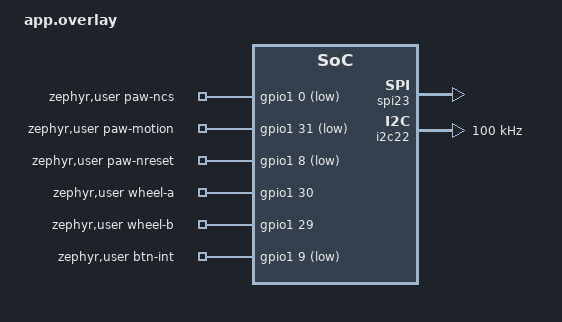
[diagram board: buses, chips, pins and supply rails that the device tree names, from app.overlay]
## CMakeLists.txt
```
# SPDX-License-Identifier: Apache-2.0
cmake_minimum_required(VERSION 3.20.0)

find_package(Zephyr REQUIRED HINTS $ENV{ZEPHYR_BASE})
project(xiao-fw)

if(CONFIG_APP_ESB)
  # 2.4G ESB 变体：esb_ptx.c 实现 ble_hid.h 同一套 API，main.c 不感知差异
  target_sources(app PRIVATE
    src/main.c
    src/paw3395.c
    src/input.c
    src/battery.c
    src/esb_ptx.c
    src/cfg_link.c
  )
  # ESB 负载 dx/dy 已改成 int16：单包位移上限 ±32767，
  # 超出部分由 main.c 的 pend 机制留在下轮发，不丢位移
  zephyr_compile_definitions(HID_MOTION_MAX=32767)
else()
  target_sources(app PRIVATE
    src/main.c
    src/paw3395.c
    src/ble_hid.c
    src/input.c
    src/battery.c
    src/cfg_link.c
  )
endif()
```

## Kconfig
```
mainmenu "XIAO nRF54LM20A gaming mouse"

config APP_ESB
	bool "Use 2.4G ESB link (ProMicro dongle) instead of BLE HID"
	default n

source "Kconfig.zephyr"
```

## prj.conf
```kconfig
# XIAO nRF54LM20A 游戏鼠标固件
#   阶段 1：bring-up + PAW3395 传感器驱动
#   阶段 2：BLE HID 鼠标 + LLPM（低延迟 1ms 连接间隔）

# 基础外设
CONFIG_GPIO=y
CONFIG_POWEROFF=y
CONFIG_SPI=y
CONFIG_I2C=y
CONFIG_SERIAL=y
CONFIG_PRINTK=y
CONFIG_ASSERT=y

# 电量读取：nPM1300 charger 走 sensor API（VBAT -> 百分比）
# charger/mfd/gpio-i2c 驱动由板级 DT 自动拉起，这里只开 sensor 子系统
CONFIG_SENSOR=y

# 日志：用默认的 deferred 模式（有独立日志线程），避免日志输出阻塞无线电时序
CONFIG_LOG=y
CONFIG_LOG_DEFAULT_LEVEL=3

# ---------------- BLE HID 鼠标 ----------------
CONFIG_BT=y
CONFIG_BT_PERIPHERAL=y
CONFIG_BT_DEVICE_NAME="XIAO Mouse"
CONFIG_BT_DEVICE_APPEARANCE=962
CONFIG_BT_MAX_CONN=1
# 配对槽：dongle 和 Windows（开发期直连调试用）都要能存，
# 只留 1 个会在"Windows 配过对"之后把 dongle 的 bond 顶掉，
# 重连时 dongle 走新配对会被鼠标回 Pairing Not Allowed（实测 err=4）。
CONFIG_BT_MAX_PAIRED=4
CONFIG_BT_ATT_TX_COUNT=12
CONFIG_BT_CONN_CTX=y

# 1 kHz 通知的发送缓冲。
# 实测（gdb 读内核对象）：主线程会卡在 bt_gatt_notify -> net_buf_alloc(att_pool,
# K_FOREVER)，也就是 ATT/ACL 发送池被占满时**无限期阻塞**（Zephyr 只对系统
# 工作队列线程用 K_NO_WAIT）。默认 ACL TX 只有 3 个，1 kHz 位移流 + dongle
# 重启/断链回不来时很容易打满，主循环就永久停住（灯不灭、不广播、按键无效）。
CONFIG_BT_BUF_ACL_TX_COUNT=12
CONFIG_BT_CONN_TX_MAX=12
CONFIG_BT_L2CAP_TX_BUF_COUNT=12
# 协议栈要求 EVT_RX 缓冲数必须大于 ACL TX 缓冲数（buf.h 里的 BUILD_ASSERT）
CONFIG_BT_BUF_EVT_RX_COUNT=16
# 主循环卡死时的自愈复位（sys_reboot）
CONFIG_REBOOT=y

# 标准 Battery Service：电量经 BAS(0x180F/0x2A19) 报给 dongle，
# 由 dongle 的红灯做低电提示（鼠标上的灯省电只做充电呼吸）。
CONFIG_BT_BAS=y

# 呼吸灯需要调亮度：用板级 pwm-leds（PWM20 三路 -> RGB 三个脚）
CONFIG_PWM=y

# HID over GATT（服务实现在 nrf/subsys/bluetooth/services/hids.c）
CONFIG_BT_HIDS=y
CONFIG_BT_HIDS_INPUT_REP_MAX=2
CONFIG_BT_HIDS_OUTPUT_REP_MAX=0
CONFIG_BT_HIDS_FEATURE_REP_MAX=0
CONFIG_BT_HIDS_ATTR_MAX=24
CONFIG_BT_HIDS_MAX_CLIENT_COUNT=1
# HID 属性要求加密：Windows 作为 HOG 主机会走配对/加密流程，
# 不加密会表现为"能连上但立刻掉"
CONFIG_BT_HIDS_DEFAULT_PERM_RW_ENCRYPT=y
CONFIG_BT_GATT_UUID16_POOL_SIZE=40
CONFIG_BT_GATT_CHRC_POOL_SIZE=20

# 设备信息服务（主机常会查）
CONFIG_BT_DIS=y
CONFIG_BT_DIS_MANUF_NAME=y
CONFIG_BT_DIS_MANUF_NAME_STR="Seeed"
CONFIG_BT_DIS_PNP=y
CONFIG_BT_DIS_PNP_VID_SRC=2
CONFIG_BT_DIS_PNP_VID=0x1915
CONFIG_BT_DIS_PNP_PID=0x5258
CONFIG_BT_DIS_PNP_VER=0x0100

# ---------------- 配对 / 绑定 ----------------
# 主机侧（尤其 Windows HOG）会主动发起配对，没开 SMP 会直接失败
CONFIG_BT_SMP=y
# 不做 MITM：无 IO 能力 -> Just Works；也不需要应用层 auth 回调
CONFIG_BT_SMP_APP_PAIRING_ACCEPT=n
# 绑定槽位只有 1 个：换主机（Windows -> dongle）时，旧绑定占满会让
# bt_keys_get_addr() 返回 NULL，SMP 直接回 Pairing Failed(0x08 Unspecified)。
# 打开"顶掉最旧绑定"，新主机才能配对成功。
CONFIG_BT_KEYS_OVERWRITE_OLDEST=y

# 绑定信息落盘（LTK/IRK），否则每次断电都要重新配对
# 注意：存储用的是板级 storage_partition
CONFIG_SETTINGS=y
CONFIG_BT_SETTINGS=y
CONFIG_NVS=y
CONFIG_SETTINGS_NVS=y
CONFIG_FLASH=y
CONFIG_FLASH_MAP=y
CONFIG_FLASH_PAGE_LAYOUT=y

# ---------------- LLPM ----------------
# 让 SDC 支持 Nordic 私有的低延迟模式（连接间隔可降到 1ms）。
# 注意：只有对端也是 Nordic SDC（如 Nordic dongle）并主动发起时才会真正用上 1ms；
# 连普通 PC 蓝牙时只会拿到常规间隔，属正常现象。
CONFIG_BT_CTLR_SDC_LLPM=y
# LLPM 1 ms 要求连接事件长度不超过间隔；默认 7500 us 会让控制器拒绝 1 ms。
CONFIG_BT_CTLR_SDC_MAX_CONN_EVENT_LEN_DEFAULT_OVERRIDE=y
CONFIG_BT_CTLR_SDC_MAX_CONN_EVENT_LEN_DEFAULT=1000
# 关掉 GAP「peripheral preferred connection parameters」，否则主机读到默认的
# 30~50ms 偏好参数，不会去协商 LLPM 间隔
CONFIG_BT_GAP_PERIPHERAL_PREF_PARAMS=n

# 避免部分笔记本蓝牙控制器同时发起多个 Link Layer 过程导致断连
CONFIG_BT_GATT_AUTO_SEC_REQ=n
CONFIG_BT_AUTO_PHY_UPDATE=n

# ---------------- 栈 ----------------
CONFIG_MAIN_STACK_SIZE=4096
CONFIG_BT_TX_PROCESSOR_STACK_SIZE=1024
CONFIG_SYSTEM_WORKQUEUE_STACK_SIZE=2048
```

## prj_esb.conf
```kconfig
# 鼠标固件 —— ESB 2.4G 变体（配合 ProMicro nRF52840 dongle 的 ESB PRX）
#
# 构建（在 junction C:/Users/asus/.cache/xiao-fw 下）：
#   cmake -B build-esb -GNinja -DBOARD=xiao_nrf54lm20a/nrf54lm20a/cpuapp \
#         -DCONF_FILE=prj_esb.conf
#   cmake --build build-esb
#
# 注意：ESB 与 BLE 争用同一颗射频，此变体不含蓝牙；烧录后 BLE 版不可用，
# 想换回去用默认 prj.conf 重新构建 build 目录即可。

# 基础外设
CONFIG_GPIO=y
CONFIG_POWEROFF=y
CONFIG_SPI=y
CONFIG_I2C=y
CONFIG_SERIAL=y
CONFIG_PRINTK=y
CONFIG_ASSERT=y

# 电量读取：nPM1300 charger 走 sensor API
CONFIG_SENSOR=y

CONFIG_LOG=y
CONFIG_LOG_DEFAULT_LEVEL=3

# ---------------- 规避 Kconfig 警告中止 ----------------
# ESB 变体不需要加密栈。注意 NRF_SECURITY / PSA_CRYPTO 是无 prompt 的
# select 符号，不能在 conf 里直接赋值，只能关掉把它们拉起来的入口。
CONFIG_FLASH_AREA_CHECK_INTEGRITY=n
CONFIG_SECURE_STORAGE=n
# 板级 defconfig 打开的弃用符号会触发弃用警告，同样导致中止
CONFIG_NRF_PLATFORM_LUMOS=n

# ---------------- 2.4G ESB PTX ----------------
# 选择 ESB 变体（CMake 据此编译 esb_ptx.c 而非 ble_hid.c）
CONFIG_APP_ESB=y
CONFIG_ESB=y
# nRF54L 系列：ESB 库需要初始化 HF 时钟
CONFIG_ESB_CLOCK_INIT=y
# 注意：本 SoC 上 CLOCK_CONTROL_NRF2 不可用（Kconfig 依赖不满足），只能用
# 旧驱动 CLOCK_CONTROL_NRF，ESB 的时钟分支走 z_nrf_clock_control_get_onoff(HF)。
# 正式固件只保留告警：ESB 库的 DBG 日志在 1 kHz 收发路径上会明显拖慢时序，
# 排查链路问题时再临时改回 CONFIG_ESB_LOG_LEVEL_DBG。
CONFIG_ESB_LOG_LEVEL_WRN=y
# 注意：radio SHORTS 的 DISABLED_RXEN 位在 LM20A 上写入无效（TX 完成后无法
# 自动切 RX 收 ACK）。TX→ACK-RX 切换由 esb_ptx.c 手动建的 DPPI 链完成；
# Kconfig 的 ESB_FAST_SWITCHING 依赖只放行 54H20_CPURAD，这里开不了。

CONFIG_MAIN_STACK_SIZE=4096
CONFIG_SYSTEM_WORKQUEUE_STACK_SIZE=2048

# 主循环卡死时的自愈复位（main.c 的 stall_guard 用 sys_reboot）
CONFIG_REBOOT=y
# 充电呼吸灯走板级 pwm-leds
CONFIG_PWM=y
```

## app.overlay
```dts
/*
 * XIAO nRF54LM20A + PAW3395 接线（依据 P2 原理图网表）
 *
 *   SCLK    -> D8  = P1.04   (spi23 SCK)
 *   MISO    -> D9  = P1.05   (spi23 MISO)
 *   MOSI    -> D10 = P1.06   (spi23 MOSI)
 *   NCS     -> D0  = P1.00   软件手动控制（burst 需保持 CS 低，故不进 SPI 控制器）
 *   MOTION  -> D1  = P1.31
 *   NRESET  -> D6  = P1.08
 *   WHEEL_A -> D2  = P1.30   阶段 2
 *   WHEEL_B -> D3  = P1.29   阶段 2
 *   BTN_INT -> D7  = P1.09   阶段 2
 *   I2C SDA -> D4  = P1.03   阶段 2
 *   I2C SCL -> D5  = P1.07   阶段 2
 *
 * SPDX-License-Identifier: Apache-2.0
 */

#include <zephyr/dt-bindings/gpio/gpio.h>

/ {
	zephyr,user {
		paw-ncs-gpios = <&gpio1 0 GPIO_ACTIVE_LOW>;
		paw-motion-gpios = <&gpio1 31 GPIO_ACTIVE_LOW>;
		paw-nreset-gpios = <&gpio1 8 GPIO_ACTIVE_LOW>;
		/* 滚轮编码器 A/B 与按键扩展 INT（上拉输入，编码器开关对地）。
		 * BTN_INT 也上拉：PCF8574 的 INT 是开漏输出，且线没接时也必须读成
		 * "无效"，否则主循环每 2 ms 都会去读一次 I2C。
		 */
		wheel-a-gpios = <&gpio1 30 (GPIO_PULL_UP | GPIO_ACTIVE_HIGH)>;
		wheel-b-gpios = <&gpio1 29 (GPIO_PULL_UP | GPIO_ACTIVE_HIGH)>;
		btn-int-gpios = <&gpio1 9 (GPIO_PULL_UP | GPIO_ACTIVE_LOW)>;
	};
};

/* D6/D7 被板级默认开启的 uart21 占用；本设计把这两个脚当普通 GPIO 用
 * （D6=NRESET、D7=BTN_INT），因此关掉 uart21。
 * 控制台仍在 uart20（SAMD11 桥 -> COM6），不受影响。
 */
&uart21 {
	status = "disabled";
};

/* 板级默认启用的板载 IMU（LSM6DS3TR-C，XIAO Sense 版才有）。
 * 本设计不用它，留着只会在开机刷一条 "LSM6DSL: Failed to initialize chip"。
 */
&lsm6ds3tr_c {
	status = "disabled";
};

/* PAW3395 挂在 spi23（D8/D9/D10）。
 * 刻意不配 cs-gpios：NCS 由 paw3395 驱动用 GPIO 手动拉低/抬高，
 * 因为 motion burst 要求 CS 在整个读序列里保持低电平。
 */
&spi23 {
	status = "okay";
	pinctrl-0 = <&spi23_default>;
	pinctrl-1 = <&spi23_sleep>;
	pinctrl-names = "default", "sleep";
};

/* PCF8574T 挂在 XIAO 外部 I2C：D4=SDA=P1.03 / D5=SCL=P1.07，节点为 i2c22
 * （板级 connector 文件里的 xiao_i2c: &i2c22）。引脚映射来自
 * xiao_nrf54lm20a_nrf54lm20a-pinctrl.dtsi 的 i2c22_default/sleep
 * （NRF_PSEL(TWIM_SDA, 1, 3) / NRF_PSEL(TWIM_SCL, 1, 7)）。
 * 板级默认给的是 400 kHz，PCF8574 只支持 100 kHz，这里覆盖。
 */
&i2c22 {
	status = "okay";
	pinctrl-0 = <&i2c22_default>;
	pinctrl-1 = <&i2c22_sleep>;
	pinctrl-names = "default", "sleep";
	clock-frequency = <100000>;
};
```

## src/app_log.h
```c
#pragma once

/* 正式版默认关闭周期性/事件级调试日志，只保留错误与启动信息。
 * 需要抓包排查时，把这里改成 1 重新编译即可。 */
#ifndef APP_VERBOSE_LOG
#define APP_VERBOSE_LOG 0
#endif
```

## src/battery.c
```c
/*
 * 电池电量：走板载 nPM1300 PMIC 的 charger sensor API 读 VBAT，
 * 再按单节锂电的「电压 -> 电量」近似曲线折算成百分比。
 *
 * XIAO nRF54LM20A 的 PMIC（npm1300 @ 0x6B）挂在板级 DTS 的 gpio-i2c
 * （位带）总线上，charger 驱动（nordic,npm1300-charger）由板级默认
 * 使能，应用侧只需要 CONFIG_SENSOR=y。
 *
 * 注意：单次 sensor_sample_fetch 会触发 4 路 ADC 并阻塞约 1 ms
 * （250 us x 4），调用方控制在秒级周期即可，不要放进高频轮询。
 */

#include <zephyr/kernel.h>
#include <zephyr/device.h>
#include <zephyr/drivers/sensor.h>
#include <zephyr/drivers/sensor/npm13xx_charger.h>
#include <zephyr/sys/printk.h>

#include "battery.h"

#define CHARGER_NODE DT_NODELABEL(pmic_charger)

static const struct device *const charger = DEVICE_DT_GET(CHARGER_NODE);

/* 单节锂电「电压 -> 电量」近似点（轻载，够分三档显示用）。
 * 曲线两端夹紧：低于 3.30 V 一律 0%，高于 4.20 V 一律 100%。
 * 插着 USB 充电时 VBAT 会被抬到 ~4.2 V，显示 85~100% 档，符合直觉。
 */
static const struct {
	uint32_t uv;
	int pct;
} soc_table[] = {
	{ 3300000,   0 },
	{ 3500000,   5 },
	{ 3700000,  25 },
	{ 3900000,  60 },
	{ 4050000,  85 },
	{ 4200000, 100 },
};

int battery_init(void)
{
	int pct = -1;
	int err;

	if (!device_is_ready(charger)) {
		printk("battery: charger not ready\n");
		return -ENODEV;
	}

	err = battery_percent_get(&pct);
	if (err == 0) {
		printk("battery: vbat ok, soc=%d%%\n", pct);
	} else {
		printk("battery: first read failed (%d)\n", err);
	}

	return err;
}

int battery_percent_get(int *pct)
{
	struct sensor_value v;
	int32_t uv;
	int ret;

	if (pct == NULL) {
		return -EINVAL;
	}

	ret = sensor_sample_fetch(charger);
	if (ret < 0) {
		return ret;
	}

	ret = sensor_channel_get(charger, SENSOR_CHAN_GAUGE_VOLTAGE, &v);
	if (ret < 0) {
		return ret;
	}

	/* 驱动用 sensor_value_from_milli() 填充：val1 = 整数伏，val2 = 微伏小数 */
	uv = (int32_t)v.val1 * 1000000 + v.val2;

	if (uv <= soc_table[0].uv) {
		*pct = soc_table[0].pct;
		return 0;
	}

	for (size_t i = 1; i < ARRAY_SIZE(soc_table); i++) {
		if (uv <= soc_table[i].uv) {
			int64_t num = (int64_t)(uv - soc_table[i - 1].uv) *
				      (soc_table[i].pct - soc_table[i - 1].pct);

			*pct = soc_table[i - 1].pct +
			       (int)(num / (soc_table[i].uv - soc_table[i - 1].uv));
			return 0;
		}
	}

	*pct = soc_table[ARRAY_SIZE(soc_table) - 1].pct;
	return 0;
}

/* VBUS present：插着 USB（充电中/充满都算），用于"只在充电时亮灯"。
 * 这条属性不依赖 sensor_sample_fetch，直接读 PMIC 的状态寄存器。
 */
int battery_charging_get(bool *charging)
{
	struct sensor_value v;
	int ret;

	if (charging == NULL) {
		return -EINVAL;
	}

	ret = sensor_attr_get(charger, SENSOR_CHAN_NPM13XX_CHARGER_VBUS_STATUS,
			      SENSOR_ATTR_NPM13XX_CHARGER_VBUS_PRESENT, &v);
	if (ret < 0) {
		return ret;
	}

	*charging = (v.val1 != 0);
	return 0;
}
```

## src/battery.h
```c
/*
 * 电池电量读取：V(BAT) 来自板载 nPM1300 PMIC 的 ADC（charger sensor API），
 * 按单节锂电近似曲线折算成 0~100%。
 *
 * battery_percent_get() 读取失败返回负值；成功时 *pct = 0..100。
 */
#ifndef BATTERY_H
#define BATTERY_H

#include <stdbool.h>

int battery_init(void);
int battery_percent_get(int *pct);

/* 是否插着 USB 供电（nPM1300 的 VBUS present 位）。
 * 用于"只在充电时亮灯"，成功返回 0 并写 *charging。 */
int battery_charging_get(bool *charging);

#endif /* BATTERY_H */
```

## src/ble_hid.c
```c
/*
 * BLE HID 鼠标（HID over GATT）+ LLPM
 * SPDX-License-Identifier: Apache-2.0
 */

#include <zephyr/kernel.h>
#include <zephyr/sys/util.h>
#include <zephyr/sys/byteorder.h>
#include <zephyr/sys/printk.h>

#include <zephyr/bluetooth/bluetooth.h>
#include <zephyr/bluetooth/conn.h>
#include <zephyr/bluetooth/hci.h>
#include <zephyr/bluetooth/uuid.h>
#include <zephyr/bluetooth/gatt.h>

#include <bluetooth/services/hids.h>
#if defined(CONFIG_BT_CTLR_SDC_LLPM)
#include <bluetooth/hci_vs_sdc.h>
#endif
#include <zephyr/settings/settings.h>

#include "ble_hid.h"

#define DEVICE_NAME     CONFIG_BT_DEVICE_NAME
#define DEVICE_NAME_LEN (sizeof(DEVICE_NAME) - 1)

#define BASE_USB_HID_SPEC_VERSION 0x0101

/* 与官方 peripheral_hids_mouse 示例一致的上报布局 */
#define INPUT_REP_BUTTONS_LEN      3
#define INPUT_REP_MOVEMENT_LEN     3
#define INPUT_REP_BUTTONS_INDEX    0
#define INPUT_REP_MOVEMENT_INDEX   1
#define INPUT_REP_BUTTONS_ID       1
#define INPUT_REP_MOVEMENT_ID      2

/* Report ID 2 里 X/Y 各 12 bit，最大 ±2047 */
#define MOTION_MAX 0x07ff

/* Nordic 私有的 LLPM 1 ms 连接间隔值 */
#define INTERVAL_LLPM 0x0D01

BT_HIDS_DEF(hids_obj, INPUT_REP_BUTTONS_LEN, INPUT_REP_MOVEMENT_LEN);

static struct bt_conn *cur_conn;
static struct k_work adv_work;

/* adv_suppressed：主动睡眠（ble_hid_stop）期间置位，让 connected/disconnected
 * 回调不自动重播，避免与 SLEEP 状态冲突；ble_hid_start 时清掉。
 * adv_running：广播是否已经在跑，用于 ble_hid_start 做幂等（不重复起广播）。
 */
static bool adv_suppressed;
static bool adv_running;

static const struct bt_data ad[] = {
	BT_DATA_BYTES(BT_DATA_GAP_APPEARANCE,
		      (CONFIG_BT_DEVICE_APPEARANCE >> 0) & 0xff,
		      (CONFIG_BT_DEVICE_APPEARANCE >> 8) & 0xff),
	BT_DATA_BYTES(BT_DATA_FLAGS, (BT_LE_AD_GENERAL | BT_LE_AD_NO_BREDR)),
	BT_DATA_BYTES(BT_DATA_UUID16_ALL, BT_UUID_16_ENCODE(BT_UUID_HIDS_VAL)),
};

static const struct bt_data sd[] = {
	BT_DATA(BT_DATA_NAME_COMPLETE, DEVICE_NAME, DEVICE_NAME_LEN),
};

static void adv_start(void)
{
	int err;

	err = bt_le_adv_start(BT_LE_ADV_CONN_FAST_2, ad, ARRAY_SIZE(ad),
			      sd, ARRAY_SIZE(sd));
	if (err) {
		printk("ble: advertising start failed (%d)\n", err);
		return;
	}
	adv_running = true;
	printk("ble: advertising started as \"%s\"\n", DEVICE_NAME);
}

static void adv_work_handler(struct k_work *work)
{
	ARG_UNUSED(work);
	adv_start();
}

static void connected(struct bt_conn *conn, uint8_t err)
{
	char addr[BT_ADDR_LE_STR_LEN];

	bt_addr_le_to_str(bt_conn_get_dst(conn), addr, sizeof(addr));

	if (err) {
		printk("ble: connection to %s failed 0x%02x %s\n", addr, err,
		       bt_hci_err_to_str(err));
		/* 主动睡眠期间不重启广播 */
		if (!adv_suppressed) {
			k_work_submit(&adv_work);
		}
		return;
	}

	printk("ble: connected %s\n", addr);

	cur_conn = bt_conn_ref(conn);

	int e = bt_hids_connected(&hids_obj, conn);

	if (e) {
		printk("ble: hids_connected failed (%d)\n", e);
	}

	/* 只在当前间隔比 7.5 ms 慢时才请求更快参数（Windows 默认给 15 ms）。
	 * dongle 建链时已经用 7.5 ms，此时再请求一次会和 dongle 稍后下发的
	 * LLPM 参数更新（1~2 ms）打架，把间隔顶回 7.5 ms。
	 * 6 = 6 x 1.25 ms；latency 0；timeout 400 x 10 ms。 */
	struct bt_conn_info info;
	uint16_t cur_us = 0;

	if (bt_conn_get_info(conn, &info) == 0 && info.type == BT_CONN_TYPE_LE) {
		cur_us = info.le.interval_us;
		printk("ble: interval %u us\n", cur_us);
	}

	if (cur_us == 0 || cur_us > 7500) {
		const struct bt_le_conn_param fast = BT_LE_CONN_PARAM_INIT(6, 6, 0, 400);
		int pu = bt_conn_le_param_update(conn, &fast);

		if (pu) {
			printk("ble: param update request failed (%d)\n", pu);
		}
	}
}

static void disconnected(struct bt_conn *conn, uint8_t reason)
{
	char addr[BT_ADDR_LE_STR_LEN];

	bt_addr_le_to_str(bt_conn_get_dst(conn), addr, sizeof(addr));

	printk("ble: disconnected %s, reason 0x%02x %s\n", addr, reason,
	       bt_hci_err_to_str(reason));

	(void)bt_hids_disconnected(&hids_obj, conn);

	if (cur_conn) {
		bt_conn_unref(cur_conn);
		cur_conn = NULL;
	}

	/* 主动睡眠（ble_hid_stop）时不重播，避免与 SLEEP 状态冲突 */
	if (!adv_suppressed) {
		k_work_submit(&adv_work);
	}
}

static void le_param_updated(struct bt_conn *conn, uint16_t interval,
			     uint16_t latency, uint16_t timeout)
{
	ARG_UNUSED(conn);

	/* LLPM 间隔在 HCI 里编码成 0x0Dxx：低 8 位是毫秒数 */
	if ((interval & 0xff00) == 0x0d00) {
		printk("ble: connection interval updated -> LLPM %u ms, latency %u\n",
		       (unsigned int)(interval & 0xff), latency);
	} else {
		printk("ble: connection interval updated: %u us, latency %u\n",
		       (unsigned int)interval * 1250U, latency);
	}
}

static void security_changed(struct bt_conn *conn, bt_security_t level,
			     enum bt_security_err err)
{
	char addr[BT_ADDR_LE_STR_LEN];

	bt_addr_le_to_str(bt_conn_get_dst(conn), addr, sizeof(addr));

	if (err) {
		printk("ble: security failed (%s level %u, err %d %s)\n", addr, level,
		       err, bt_security_err_to_str(err));
		/* 对端（dongle）安全失败时会清掉自己的 bond 再重连重配。
		 * 本端如果保留旧 key，SMP 的 update_keys_check() 会对新配对回
		 * AUTH_REQUIREMENTS(0x04)，两边就无限"连上-失败-断开"。
		 * 这里同步删掉本端这条过期 bond，下一次连接才能走全新配对。 */
		(void)bt_unpair(BT_ID_DEFAULT, bt_conn_get_dst(conn));
	} else {
		printk("ble: security changed (%s level %u)\n", addr, level);
	}
}

BT_CONN_CB_DEFINE(conn_callbacks) = {
	.connected = connected,
	.disconnected = disconnected,
	.le_param_updated = le_param_updated,
	.security_changed = security_changed,
};

static void pairing_complete(struct bt_conn *conn, bool bonded)
{
	char addr[BT_ADDR_LE_STR_LEN];

	bt_addr_le_to_str(bt_conn_get_dst(conn), addr, sizeof(addr));
	printk("ble: pairing complete (%s, bonded %d)\n", addr, bonded);
}

static void pairing_failed(struct bt_conn *conn, enum bt_security_err reason)
{
	char addr[BT_ADDR_LE_STR_LEN];

	bt_addr_le_to_str(bt_conn_get_dst(conn), addr, sizeof(addr));
	printk("ble: pairing failed (%s, reason %d %s)\n", addr, reason,
	       bt_security_err_to_str(reason));
}

static struct bt_conn_auth_info_cb auth_info_cb = {
	.pairing_complete = pairing_complete,
	.pairing_failed = pairing_failed,
};

static void hid_init(void)
{
	struct bt_hids_init_param init = { 0 };
	struct bt_hids_inp_rep *rep;
	static const uint8_t motion_mask[DIV_ROUND_UP(INPUT_REP_MOVEMENT_LEN, 8)] = { 0 };

	/* 与官方示例逐字节一致，避免描述符写错导致主机识别不了 */
	static const uint8_t report_map[] = {
		0x05, 0x01,       /* Usage Page (Generic Desktop) */
		0x09, 0x02,       /* Usage (Mouse) */

		0xA1, 0x01,       /* Collection (Application) */

		/* Report ID 1: 按键 + 滚轮 + 横向拨动 */
		0x85, 0x01,       /* Report Id 1 */
		0x09, 0x01,       /* Usage (Pointer) */
		0xA1, 0x00,       /* Collection (Physical) */
		0x95, 0x05,       /* Report Count (5) */
		0x75, 0x01,       /* Report Size (1) */
		0x05, 0x09,       /* Usage Page (Buttons) */
		0x19, 0x01,       /* Usage Minimum (01) */
		0x29, 0x05,       /* Usage Maximum (05) */
		0x15, 0x00,       /* Logical Minimum (0) */
		0x25, 0x01,       /* Logical Maximum (1) */
		0x81, 0x02,       /* Input (Data, Variable, Absolute) */
		0x95, 0x01,       /* Report Count (1) */
		0x75, 0x03,       /* Report Size (3) */
		0x81, 0x01,       /* Input (Constant) for padding */
		0x75, 0x08,       /* Report Size (8) */
		0x95, 0x01,       /* Report Count (1) */
		0x05, 0x01,       /* Usage Page (Generic Desktop) */
		0x09, 0x38,       /* Usage (Wheel) */
		0x15, 0x81,       /* Logical Minimum (-127) */
		0x25, 0x7F,       /* Logical Maximum (127) */
		0x81, 0x06,       /* Input (Data, Variable, Relative) */
		0x05, 0x0C,       /* Usage Page (Consumer) */
		0x0A, 0x38, 0x02, /* Usage (AC Pan) */
		0x95, 0x01,       /* Report Count (1) */
		0x81, 0x06,       /* Input (Data, Variable, Relative) */
		0xC0,             /* End Collection (Physical) */

		/* Report ID 2: 12 bit X/Y 位移 */
		0x85, 0x02,       /* Report Id 2 */
		0x09, 0x01,       /* Usage (Pointer) */
		0xA1, 0x00,       /* Collection (Physical) */
		0x75, 0x0C,       /* Report Size (12) */
		0x95, 0x02,       /* Report Count (2) */
		0x05, 0x01,       /* Usage Page (Generic Desktop) */
		0x09, 0x30,       /* Usage (X) */
		0x09, 0x31,       /* Usage (Y) */
		0x16, 0x01, 0xF8, /* Logical Minimum (-2047) */
		0x26, 0xFF, 0x07, /* Logical Maximum (2047) */
		0x81, 0x06,       /* Input (Data, Variable, Relative) */
		0xC0,             /* End Collection (Physical) */
		0xC0              /* End Collection (Application) */
	};

	init.rep_map.data = report_map;
	init.rep_map.size = sizeof(report_map);

	init.info.bcd_hid = BASE_USB_HID_SPEC_VERSION;
	init.info.b_country_code = 0x00;
	init.info.flags = (BT_HIDS_REMOTE_WAKE | BT_HIDS_NORMALLY_CONNECTABLE);

	rep = &init.inp_rep_group_init.reports[0];
	rep->size = INPUT_REP_BUTTONS_LEN;
	rep->id = INPUT_REP_BUTTONS_ID;
	init.inp_rep_group_init.cnt++;

	rep++;
	rep->size = INPUT_REP_MOVEMENT_LEN;
	rep->id = INPUT_REP_MOVEMENT_ID;
	rep->rep_mask = motion_mask;
	init.inp_rep_group_init.cnt++;

	init.is_mouse = true;

	int err = bt_hids_init(&hids_obj, &init);

	if (err) {
		printk("ble: HIDS init failed (%d)\n", err);
	}
}

static void llpm_enable(void)
{
#if defined(CONFIG_BT_CTLR_SDC_LLPM)
	sdc_hci_cmd_vs_llpm_mode_set_t cmd = { .enable = true };
	int err = hci_vs_sdc_llpm_mode_set(&cmd);

	if (err) {
		printk("ble: LLPM mode enable failed (%d)\n", err);
	} else {
		printk("ble: LLPM mode enabled\n");
	}
#endif
}

int ble_hid_init(void)
{
	int err;

	/* HIDS 要在 bt_enable 之前注册 */
	hid_init();

	err = bt_enable(NULL);
	if (err) {
		printk("ble: bt_enable failed (%d)\n", err);
		return err;
	}

	printk("ble: bluetooth initialized\n");

	if (IS_ENABLED(CONFIG_SETTINGS)) {
		err = settings_load();
		if (err) {
			printk("ble: settings_load failed (%d)\n", err);
		}
		printk("ble: settings loaded\n");
	}

	if (IS_ENABLED(CONFIG_BT_SMP)) {
		err = bt_conn_auth_info_cb_register(&auth_info_cb);
		if (err) {
			printk("ble: auth info cb register failed (%d)\n", err);
		}
	}

	llpm_enable();

	k_work_init(&adv_work, adv_work_handler);
	adv_start();

	return 0;
}

bool ble_hid_connected(void)
{
	return cur_conn != NULL;
}

int ble_hid_send_motion(int16_t dx, int16_t dy)
{
	if (!cur_conn || (dx == 0 && dy == 0)) {
		return 0;
	}

	uint8_t buffer[INPUT_REP_MOVEMENT_LEN];
	uint8_t x_buf[2];
	uint8_t y_buf[2];
	int16_t x = CLAMP(dx, -MOTION_MAX, MOTION_MAX);
	int16_t y = CLAMP(dy, -MOTION_MAX, MOTION_MAX);

	BUILD_ASSERT(sizeof(buffer) == 3, "只支持 2 轴 x 12 bit");

	sys_put_le16((uint16_t)x, x_buf);
	sys_put_le16((uint16_t)y, y_buf);

	buffer[0] = x_buf[0];
	buffer[1] = (y_buf[0] << 4) | (x_buf[1] & 0x0f);
	buffer[2] = (y_buf[1] << 4) | (y_buf[0] >> 4);

	return bt_hids_inp_rep_send(&hids_obj, cur_conn, INPUT_REP_MOVEMENT_INDEX,
				    buffer, sizeof(buffer), NULL);
}

int ble_hid_send_buttons(uint8_t buttons, int8_t wheel, int8_t pan)
{
	/* 未连接时必须返回错误，不能返回 0：调用方把 0 当"已送达"，会把
	 * btn_sent 更新成按下状态、把 wheel_pending 清掉，于是移动唤醒后
	 * 重连完成前的那些点击就被静默吞掉了（表现：唤醒后按键没反应）。
	 */
	if (!cur_conn) {
		return -ENOTCONN;
	}

	uint8_t buffer[INPUT_REP_BUTTONS_LEN] = {
		(uint8_t)(buttons & 0x1f),
		(uint8_t)wheel,
		(uint8_t)pan,
	};

	return bt_hids_inp_rep_send(&hids_obj, cur_conn, INPUT_REP_BUTTONS_INDEX,
				    buffer, sizeof(buffer), NULL);
}

void ble_hid_stop(void)
{
	/* 先置抑制标志：否则下面 stop/断链触发的 disconnected 回调会立刻又把
	 * 广播拉起来，和睡眠状态冲突。软件协议栈保持开启（不用 bt_disable）。
	 */
	adv_suppressed = true;

	/* 忽略返回值：可能本来就没在广播 */
	(void)bt_le_adv_stop();
	adv_running = false;

	if (cur_conn) {
		(void)bt_conn_disconnect(cur_conn, BT_HCI_ERR_REMOTE_USER_TERM_CONN);
	}
}

void ble_hid_start(void)
{
	/* 幂等：清掉抑制标志让回调恢复正常行为；已在广播则直接返回不重复起 */
	adv_suppressed = false;

	if (adv_running) {
		return;
	}

	adv_start();
}

void ble_hid_set_system_mode(uint8_t mode)
{
	/* BLE 变体没有配置通道（dongle 走 BLE 时只会把设置存在自己那边），
	 * 发射功率由 SoftDevice Controller 调度，这里不改。 */
	printk("ble: system mode %u ignored (tx power owned by controller)\n", mode);
}
```

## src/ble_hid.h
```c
/*
 * BLE HID 鼠标（HID over GATT）+ LLPM
 *
 * 说明：
 *   - 用 NCS 的 HIDS 服务（nrf/subsys/bluetooth/services/hids.c），
 *     上报格式与官方 peripheral_hids_mouse 示例一致：
 *       Report ID 1 = 按键 + 滚轮 + 横向拨动
 *       Report ID 2 = 12 bit X/Y 位移
 *   - LLPM（低延迟 1ms 连接间隔）：本模块只负责把控制器的 LLPM 模式打开
 *     （hci_vs_sdc_llpm_mode_set），并关掉 GAP 偏好参数。真正协商 1ms 需要
 *     对端也是 Nordic SDC 并主动发起；连普通 PC 蓝牙会退回常规间隔。
 *
 * SPDX-License-Identifier: Apache-2.0
 */

#ifndef BLE_HID_H
#define BLE_HID_H

#include <stdint.h>
#include <stdbool.h>

/* 鼠标按键位，对应 Report ID 1 的 bit0..bit4 */
#define BLE_HID_BTN_LEFT   0x01
#define BLE_HID_BTN_RIGHT  0x02
#define BLE_HID_BTN_MIDDLE 0x04
#define BLE_HID_BTN_SIDE1  0x08
#define BLE_HID_BTN_SIDE2  0x10

/**
 * @brief 初始化 HIDS 服务、打开蓝牙、开启 LLPM 模式并开始广播。
 * @return 0 成功，负值为 errno
 */
int ble_hid_init(void);

/** @brief 当前是否有主机连着。 */
bool ble_hid_connected(void);

/**
 * @brief 发一次位移上报（Report ID 2）。未连接时直接返回 0。
 * @param dx 相对位移，范围内会被限幅到 ±2047
 */
int ble_hid_send_motion(int16_t dx, int16_t dy);

/**
 * @brief 发一次按键/滚轮上报（Report ID 1）。未连接时直接返回 0。
 * @param buttons BLE_HID_BTN_* 的位或
 * @param wheel   纵向滚轮（-127..127）
 * @param pan     横向拨动（-127..127）
 */
int ble_hid_send_buttons(uint8_t buttons, int8_t wheel, int8_t pan);

/**
 * @brief 主动停止广播并断开当前连接（用于睡眠：PC 会认为设备掉线）。
 *
 * 只停广播 / 断链路，协议栈保持开启（不用 bt_disable）。
 * 调用后会抑制 disconnected 回调里的自动重播，直到 ble_hid_start 清除。
 */
void ble_hid_stop(void);

/**
 * @brief 重新开始广播（幂等）。用于唤醒，PC 凭已绑定信息会自动重连。
 */
void ble_hid_start(void);

/**
 * @brief 应用"系统模式"：0 = 高速（省电），1 = 竞技（更高发射功率）。
 *
 * ESB 变体直接把射频功率从 0 dBm 提到 +8 dBm；BLE 变体的发射功率由协议栈
 * 调度，这里不动（配置通道也只有 2.4G 链路在用）。
 */
void ble_hid_set_system_mode(uint8_t mode);

/**
 * @brief 更新回传给接收器的电量（仅 ESB 变体使用）。
 *
 * ESB 没有 BAS 通道，电量搭在每个包的 data[9] 上；BLE 变体仍走
 * 标准 Battery Service，不需要调用。0xFF 表示未知。
 */
void ble_hid_set_battery(uint8_t pct);

#endif /* BLE_HID_H */
```

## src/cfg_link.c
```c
/*
 * 配置通道实现（鼠标侧）
 *
 * 数据来源：dongle 的 PRX 把命令放在 ACK payload 里，鼠标 PTX 在
 * ESB_EVENT_RX_RECEIVED 里读到（见 esb_ptx.c），这里只负责解析和保存状态。
 */

#include <string.h>

#include <zephyr/kernel.h>
#include <zephyr/sys/printk.h>

#include "cfg_link.h"

#define CFG_MAGIC_LINK    0xC7

/* 命令码：与 dongle 的 hid_cfg.h 完全一致 */
enum cfg_cmd {
	CFG_CMD_GET_STATE    = 0x01,
	CFG_CMD_SET_DPI      = 0x02,
	CFG_CMD_SET_SLOTS    = 0x03,
	CFG_CMD_SET_ACTIVE   = 0x04,
	CFG_CMD_SET_RATE     = 0x05,
	CFG_CMD_SET_MODE     = 0x06,
	CFG_CMD_SET_SYNC     = 0x07,
	CFG_CMD_SET_DEBOUNCE = 0x08,
	CFG_CMD_SET_LIFTOFF  = 0x09,
};

#define CFG_DPI_MIN  100
#define CFG_DPI_MAX  16000

static struct {
	uint8_t active_slots;
	uint8_t active_slot;
	uint16_t report_rate;
	uint8_t system_mode;   /* 0 高速 / 1 竞技 */
	uint8_t motion_sync;
	uint8_t debounce;      /* 0 低 / 1 中 / 2 高 */
	uint8_t lift_off;      /* 0 低 / 1 中 / 2 高 */
	uint16_t dpi[CFG_LINK_DPI_SLOTS];
} state = {
	.active_slots = 1,
	.active_slot = 0,
	.report_rate = 1000,
	.system_mode = 0,
	.motion_sync = 1,
	.debounce = 0,
	.lift_off = 0,
	.dpi = { 1600, 3200, 6400, 8000, 12000, 16000 },
};

/* 空中包队列：ESB 回调只入队，主循环解析 */
K_MSGQ_DEFINE(air_q, 8, 8, 4);

static uint32_t pending_changes;

void cfg_link_init(void)
{
	k_msgq_purge(&air_q);
	pending_changes = 0;
	printk("cfg: link ready (dpi %u, %u Hz, slots %u)\n",
	       cfg_link_cpi(), state.report_rate, state.active_slots);
}

void cfg_link_on_air_packet(const uint8_t *data, uint8_t len)
{
	if (len < 5 || data[0] != CFG_MAGIC_LINK) {
		return;
	}

	/* 队列满就丢最旧包：设置是幂等的，下一包（dongle 会连发 3 次）能补上 */
	if (k_msgq_put(&air_q, data, K_NO_WAIT) != 0) {
		uint8_t drop[8];

		(void)k_msgq_get(&air_q, drop, K_NO_WAIT);
		(void)k_msgq_put(&air_q, data, K_NO_WAIT);
	}
}

/* 返回值表示这一条是否真的改变了状态（没变就不必重设硬件） */
static bool apply_packet(const uint8_t *pkt)
{
	uint8_t cmd = pkt[1];
	uint8_t index = pkt[2];
	uint16_t value = (uint16_t)(pkt[3] | (pkt[4] << 8));
	bool changed = false;

	switch (cmd) {
	case CFG_CMD_GET_STATE:
		return false;
	case CFG_CMD_SET_DPI:
		if (index >= CFG_LINK_DPI_SLOTS) {
			return false;
		}
		value = CLAMP(value, CFG_DPI_MIN, CFG_DPI_MAX);
		if (state.dpi[index] != value) {
			state.dpi[index] = value;
			changed = true;
			/* 只有当前生效挡位变了才需要动传感器 */
			if (index == state.active_slot) {
				pending_changes |= CFG_LINK_CHG_DPI;
			}
		}
		break;
	case CFG_CMD_SET_SLOTS:
		value = CLAMP(value, 1, CFG_LINK_DPI_SLOTS);
		if (state.active_slots != value) {
			state.active_slots = (uint8_t)value;
			if (state.active_slot >= state.active_slots) {
				state.active_slot = state.active_slots - 1;
				pending_changes |= CFG_LINK_CHG_DPI;
			}
			changed = true;
		}
		break;
	case CFG_CMD_SET_ACTIVE:
		if (value >= state.active_slots || state.active_slot == value) {
			return false;
		}
		state.active_slot = (uint8_t)value;
		pending_changes |= CFG_LINK_CHG_DPI;
		changed = true;
		break;
	case CFG_CMD_SET_RATE:
		if (!IN_RANGE(value, 1000, 8000) || state.report_rate == value) {
			return false;
		}
		state.report_rate = value;
		pending_changes |= CFG_LINK_CHG_RATE;
		changed = true;
		break;
	case CFG_CMD_SET_MODE:
		if (value > 1 || state.system_mode == value) {
			return false;
		}
		state.system_mode = (uint8_t)value;
		pending_changes |= CFG_LINK_CHG_MODE;
		changed = true;
		break;
	case CFG_CMD_SET_SYNC:
		if (value > 1 || state.motion_sync == value) {
			return false;
		}
		state.motion_sync = (uint8_t)value;
		pending_changes |= CFG_LINK_CHG_SYNC;
		changed = true;
		break;
	case CFG_CMD_SET_DEBOUNCE:
		if (value > 2 || state.debounce == value) {
			return false;
		}
		state.debounce = (uint8_t)value;
		pending_changes |= CFG_LINK_CHG_DEBOUNCE;
		changed = true;
		break;
	case CFG_CMD_SET_LIFTOFF:
		if (value > 2 || state.lift_off == value) {
			return false;
		}
		state.lift_off = (uint8_t)value;
		pending_changes |= CFG_LINK_CHG_LIFTOFF;
		changed = true;
		break;
	default:
		return false;
	}

	return changed;
}

uint32_t cfg_link_process(void)
{
	uint8_t pkt[8];

	while (k_msgq_get(&air_q, pkt, K_NO_WAIT) == 0) {
		(void)apply_packet(pkt);
	}

	uint32_t changes = pending_changes;

	pending_changes = 0;

	return changes;
}

uint8_t cfg_link_slots(void)
{
	return state.active_slots;
}

uint8_t cfg_link_active_slot(void)
{
	return state.active_slot;
}

uint16_t cfg_link_dpi(uint8_t index)
{
	return state.dpi[MIN(index, CFG_LINK_DPI_SLOTS - 1)];
}

uint16_t cfg_link_cpi(void)
{
	return state.dpi[state.active_slot];
}

uint16_t cfg_link_report_rate(void)
{
	return state.report_rate;
}

uint8_t cfg_link_system_mode(void)
{
	return state.system_mode;
}

bool cfg_link_motion_sync(void)
{
	return state.motion_sync != 0;
}

uint8_t cfg_link_debounce(void)
{
	return state.debounce;
}

uint8_t cfg_link_lift_off(void)
{
	return state.lift_off;
}

void cfg_link_set_active_slot(uint8_t index)
{
	if (index < state.active_slots && index != state.active_slot) {
		state.active_slot = index;
	}
}
```

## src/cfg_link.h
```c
/*
 * 配置通道（鼠标侧）：接收 dongle 通过 ESB ACK payload 下发的设置
 *
 * 链路包（8 字节，与 dongle 的 hid_cfg.c 对应）：
 *   [0]=0xC7 [1]=cmd [2]=index [3..4]=value(u16 LE) [5]=seq [6..7]=0
 *
 * ESB 事件回调里只做入队（cfg_link_on_air_packet），
 * 解析和应用都放到主循环（cfg_link_process），避免在回调里动传感器/radio。
 *
 * 设置只存在 RAM：dongle 每次链路建立后会把整套设置重发一遍，
 * 所以鼠标不需要自己掉电保存，也不存在两边配置打架的问题。
 */
#ifndef CFG_LINK_H__
#define CFG_LINK_H__

#include <stdint.h>
#include <stdbool.h>

#include <zephyr/sys/util.h>

#define CFG_LINK_DPI_SLOTS   6

/* cfg_link_process() 返回的变更位 */
#define CFG_LINK_CHG_DPI      BIT(0)
#define CFG_LINK_CHG_RATE     BIT(1)
#define CFG_LINK_CHG_MODE     BIT(2)
#define CFG_LINK_CHG_SYNC     BIT(3)
#define CFG_LINK_CHG_DEBOUNCE BIT(4)
#define CFG_LINK_CHG_LIFTOFF  BIT(5)
#define CFG_LINK_CHG_ALL      (CFG_LINK_CHG_DPI | CFG_LINK_CHG_RATE | CFG_LINK_CHG_MODE | \
			       CFG_LINK_CHG_SYNC | CFG_LINK_CHG_DEBOUNCE | CFG_LINK_CHG_LIFTOFF)

void cfg_link_init(void);

/* ESB 回调（中断/协议栈线程）：只把包塞进队列 */
void cfg_link_on_air_packet(const uint8_t *data, uint8_t len);

/* 主循环：解析队列并更新状态，返回本次累计的变更位 */
uint32_t cfg_link_process(void);

uint8_t cfg_link_slots(void);
uint8_t cfg_link_active_slot(void);
uint16_t cfg_link_dpi(uint8_t index);
uint16_t cfg_link_cpi(void);
uint16_t cfg_link_report_rate(void);
uint8_t cfg_link_system_mode(void);
bool cfg_link_motion_sync(void);
uint8_t cfg_link_debounce(void);
uint8_t cfg_link_lift_off(void);

/* 本地 DPI 键切换了档位：同步给配置状态，避免之后下发的 SET_DPI
 * 因为"挡位对不上"而不更新硬件。 */
void cfg_link_set_active_slot(uint8_t index);

#endif /* CFG_LINK_H__ */
```

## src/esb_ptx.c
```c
/*
 * ESB PTX 发射层 —— 实现 ble_hid.h 的同一套 API
 *
 * CONFIG_APP_ESB=y 时由 CMake 选用本文件替代 ble_hid.c。
 * main.c 不感知底层差异：同样的 init/start/stop/send_motion/send_buttons。
 *
 * 协议参数与 dongle（dongle_nrf52840/src/esb_rx.c）严格一致：
 *   2 Mbps / 信道 75 / 16bit CRC / 10 字节负载 / 地址 A5:3C:9D:71:2E
 *
 * 负载布局：[seq, btn, dxL, dxH, dyL, dyH, wheelL, wheelH, 0, batt]
 *   位移 int16 小端：高 DPI 下单包位移可超过 127，int8 会削顶。
 *   位移每 2 ms 一包，丢了靠下一包自然接上（重传无意义，旧位移已过时）；
 *   按键是状态量，每包都带最新值；滚轮改成 **16 bit 累计计数**（不是相对量），
 *   接收器用"本次计数 - 上次计数"得到增量。这样丢一包后，下一包会把漏掉的
 *   格数一起补上；重复发送同一计数也不会重复滚动。
 *
 * 发射时序（关键，esb.c 2699 行）：AUTO 模式下 esb_write_payload 入队后
 * 会自动 schedule_tx_transaction，无需也不应再调 esb_start_tx()——
 * 事务已在跑时 start_tx 只会返回 -EBUSY（无害但误导）。
 *
 * 链路活性：200 ms 内有过 TX 事件（成功或失败）即认为 dongle 在范围内；
 * 不活跃时 send_* 返回 0 直接丢弃（与 BLE 版断线时丢位移的行为一致）。
 */

#include <esb.h>

#include <zephyr/kernel.h>
#include <zephyr/sys/printk.h>
#include <zephyr/sys/atomic.h>
#include <hal/nrf_radio.h>

#include "ble_hid.h"
#include "cfg_link.h"
#include "app_log.h"

/* 信道 75 = 2475 MHz：避开邻居 Wi-Fi 信道 6（2426~2448 MHz）和
 * 信道 11（2451~2473 MHz）。原信道 46（2446 MHz）正好落在信道 6 里，
 * 抓包时约 100 ms 的丢失突发与 Wi-Fi beacon 周期吻合。
 * 鼠标与接收器的信道必须一致。
 */
#define ESB_RF_CHANNEL   75
#define ESB_PAYLOAD_LEN  10
#define ESB_ADDR_BASE    { 0xA5, 0x3C, 0x9D, 0x71 }
#define ESB_ADDR_PREFIX  0x2E

static atomic_t last_tx_ms;
static atomic_t tx_ok;
static atomic_t tx_fail;
static atomic_t write_err;   /* write_payload 返回非 0（FIFO 满等） */
static bool started;
static uint8_t seq;
/* 最新按键位图。dongle 把每个包都当成一份完整 HID 报告，
 * 位移包如果按键字段写 0，长按期间的位移包会立刻把按键"松开"，
 * 主机就会判成 4~8 ms 间隔的连点。所以每个包都必须带上当前按键状态。
 */
static uint8_t cur_buttons;
/* 最新电量百分比（0xFF = 未知）。ESB 没有 BAS，搭在负载 data[9] 上
 * 随每个包回传，接收器据此做低电提示和续航记录。
 */
static uint8_t cur_battery = 0xFF;
/* 滚轮累计计数：每个包都带当前值，接收器算差值。
 * 丢包/ACK 失败都不会丢格数，下一包自然补齐；重复包差值为 0，不会重复滚。
 * 用 uint16 做模 65536 累加，回绕时的行为是定义明确的。 */
static uint16_t wheel_total;

/* 每 5 秒打印一次发射统计 */
static void stat_timer_fn(struct k_timer *t)
{
	ARG_UNUSED(t);
#if APP_VERBOSE_LOG
	printk("esb: PTX ok %u fail %u werr %u\n",
	       (unsigned int)atomic_get(&tx_ok),
	       (unsigned int)atomic_get(&tx_fail),
	       (unsigned int)atomic_get(&write_err));
#endif
}

static K_TIMER_DEFINE(stat_timer, stat_timer_fn, NULL);

#if APP_VERBOSE_LOG
/* 诊断：打印 PTX 端 radio 实际配置，用于与 dongle（nRF52840）逐项对比。
 * 每次调用要打两行长日志（串口上数毫秒），只能在排查时打开。 */
static void dump_radio_cfg(void)
{
	printk("esb: TXcfg BASE0=0x%08X PFX0=0x%08X TXADDR=%u RXADDRS=0x%X MODE=0x%X TXPOWER=0x%X FREQ=%u STATE=0x%02X\n",
	       (unsigned int)NRF_RADIO->BASE0,
	       (unsigned int)NRF_RADIO->PREFIX0,
	       (unsigned int)NRF_RADIO->TXADDRESS,
	       (unsigned int)NRF_RADIO->RXADDRESSES,
	       (unsigned int)NRF_RADIO->MODE,
	       (unsigned int)NRF_RADIO->TXPOWER,
	       (unsigned int)NRF_RADIO->FREQUENCY,
	       (unsigned int)NRF_RADIO->STATE);
	printk("esb: TXevt TXREADY=%u READY=%u ADDR=%u PAYLOAD=%u END=%u PHYEND=%u DISABLED=%u\n",
	       (unsigned int)NRF_RADIO->EVENTS_TXREADY,
	       (unsigned int)NRF_RADIO->EVENTS_READY,
	       (unsigned int)NRF_RADIO->EVENTS_ADDRESS,
	       (unsigned int)NRF_RADIO->EVENTS_PAYLOAD,
	       (unsigned int)NRF_RADIO->EVENTS_END,
	       (unsigned int)NRF_RADIO->EVENTS_PHYEND,
	       (unsigned int)NRF_RADIO->EVENTS_DISABLED);
}
#endif

static void esb_event_cb(const struct esb_evt *evt)
{
	switch (evt->evt_id) {
	case ESB_EVENT_TX_SUCCESS:
		if (atomic_get(&tx_ok) == 0) {
			printk("esb: first TX_SUCCESS\n");
		}
		atomic_inc(&tx_ok);
		atomic_set(&last_tx_ms, (atomic_val_t)k_uptime_get());
		break;
	case ESB_EVENT_TX_FAILED:
#if APP_VERBOSE_LOG
		if ((atomic_get(&tx_fail) % 500) == 0) {
			dump_radio_cfg();
		}
#endif
		/* ACK 没收到。关键：TX_FAILED 后库**不弹出**该包
		 * （esb.c 1847 路径无 remove_first），高频位移数据会把
		 * 8 深度 FIFO 全部塞死（实测 werr 600/s）。旧位移没有
		 * 重发价值，直接清空 FIFO，下一包立即恢复发射。
		 * 事件回调运行时 state 已是 IDLE，flush_tx 合法。 */
		atomic_inc(&tx_fail);
		atomic_set(&last_tx_ms, (atomic_val_t)k_uptime_get());
		(void)esb_flush_tx();
		break;
	case ESB_EVENT_RX_RECEIVED:
		/* PTX 正常不会收到数据包，这里收到的是 dongle 挂在 ACK 上的
		 * 配置命令（DPL 协议下 ACK payload 会推进 RX FIFO）。
		 * 必须读空 FIFO，否则后续事件不再触发。回调里只入队。 */
		{
			struct esb_payload pl;

			while (esb_read_rx_payload(&pl) == 0) {
				cfg_link_on_air_packet(pl.data, pl.length);
			}
		}
		break;
	default:
		break;
	}
}

static int esb_radio_start(void)
{
	static const uint8_t base[4] = ESB_ADDR_BASE;
	static const uint8_t prefix = ESB_ADDR_PREFIX;
	struct esb_config cfg = ESB_DEFAULT_CONFIG;
	int err;

	cfg.mode = ESB_MODE_PTX;
	cfg.tx_mode = ESB_TXMODE_AUTO;
	cfg.event_handler = esb_event_cb;
	/* 自动重传：ACK 没收到时 450 us 后重发，最多 2 次。
	 * 抓包实测无重传时会出现成批丢包（最坏 211 包/5 s ≈ 4.2%），
	 * 每次突发都对应一次明显卡顿。注意 ESB 要求 retransmit_delay
	 * 不小于 435 us（600 us 是原值，300 us 会让 esb_init 返回 -EINVAL）。
	 * 发射功率由配置通道的竞技模式（+8 dBm）在运行时设置。
	 */
	cfg.retransmit_count = 2;
	cfg.retransmit_delay = 450;
	cfg.tx_output_power = 0;

	err = esb_init(&cfg);
	if (err) {
		printk("esb: init failed %d\n", err);
		return err;
	}

	err = esb_set_base_address_0(base);
	if (err) {
		printk("esb: base addr failed %d\n", err);
		return err;
	}

	err = esb_set_prefixes(&prefix, 1);
	if (err) {
		printk("esb: prefix failed %d\n", err);
		return err;
	}

	err = esb_set_rf_channel(ESB_RF_CHANNEL);
	if (err) {
		printk("esb: channel failed %d\n", err);
		return err;
	}

	return 0;
}

int ble_hid_init(void)
{
	int err = esb_radio_start();

	if (err == 0) {
		started = true;
		k_timer_start(&stat_timer, K_SECONDS(5), K_SECONDS(5));
		printk("esb: PTX started ch=%u addr=A5:3C:9D:71:%02X 2Mbps\n",
		       ESB_RF_CHANNEL, ESB_ADDR_PREFIX);
#if APP_VERBOSE_LOG
		dump_radio_cfg();
#endif
	}
	return err;
}

bool ble_hid_connected(void)
{
	/* ESB 没有连接态：PRX 一直挂在接收，发射器启动就算链路可用。
	 * 原来用"200 ms 内有过 TX"判定，静止时鼠标不发包 -> 判定为断开，
	 * main.c 会把点击先扣在 btn_latch 里，要等下一次位移才补发，
	 * 表现为"静止一会儿后的第一下点击慢半拍甚至要晃一下才生效"。 */
	return started;
}

int ble_hid_send_motion(int16_t dx, int16_t dy)
{
	struct esb_payload pl = { .length = ESB_PAYLOAD_LEN };
	int err;

	pl.data[0] = seq++;
	pl.data[1] = cur_buttons;
	pl.data[2] = (uint8_t)((uint16_t)dx & 0xFF);
	pl.data[3] = (uint8_t)(((uint16_t)dx >> 8) & 0xFF);
	pl.data[4] = (uint8_t)((uint16_t)dy & 0xFF);
	pl.data[5] = (uint8_t)(((uint16_t)dy >> 8) & 0xFF);
	/* 位移包也带累计滚轮计数：之前只放在按键包里，
	 * 一旦那个按键包被丢，滚轮就永久丢了。 */
	pl.data[6] = (uint8_t)(wheel_total & 0xFF);
	pl.data[7] = (uint8_t)((wheel_total >> 8) & 0xFF);
	pl.data[8] = 0;
	pl.data[9] = cur_battery;

	err = esb_write_payload(&pl);
	if (err) {
		atomic_inc(&write_err);
	}

	/* 把错误如实返回：main.c 只有拿到 0 才会扣减 pend，
	 * 这里若吞掉 -ENOMEM（TX FIFO 满），这段位移就永久丢了。 */
	return err;
}

int ble_hid_send_buttons(uint8_t buttons, int8_t wheel, int8_t pan)
{
	struct esb_payload pl = { .length = ESB_PAYLOAD_LEN };
	uint16_t new_total = (uint16_t)(wheel_total + (uint16_t)(int16_t)wheel);
	int err;

	ARG_UNUSED(pan);

	/* 状态量：无论本次发送成功与否都记录下来，
	 * 后面每个位移包都会带上它，丢一包也能在下个包自愈 */
	cur_buttons = buttons;

	pl.data[0] = seq++;
	pl.data[1] = buttons;
	pl.data[2] = 0;
	pl.data[3] = 0;
	pl.data[4] = 0;
	pl.data[5] = 0;
	pl.data[6] = (uint8_t)(new_total & 0xFF);
	pl.data[7] = (uint8_t)((new_total >> 8) & 0xFF);
	pl.data[8] = 0;
	pl.data[9] = cur_battery;

	err = esb_write_payload(&pl);
	if (err) {
		atomic_inc(&write_err);
	} else {
		/* 只有真正进了 radio FIFO 才推进累计值：
		 * 写失败时 main.c 会保留 wheel_pending，下一轮用同一个基数重试。 */
		wheel_total = new_total;
	}

	/* 返回错误让 main.c 保留 wheel_pending 重试。按键本身是状态量，
	 * 已经写进 cur_buttons，后续位移包会自动带上，不会丢。 */
	return err;
}

void ble_hid_stop(void)
{
	if (started) {
		(void)esb_disable();
		/* 休眠/关机期间不需要发射统计，停掉 5 s 周期定时器，
		 * 避免它每隔 5 s 把 CPU 从空闲里唤醒一次。 */
		k_timer_stop(&stat_timer);
		cur_buttons = 0;   /* 断电/休眠时主机侧按键状态归零 */
		atomic_set(&last_tx_ms, 0);
	}
}

void ble_hid_start(void)
{
	if (!started) {
		(void)ble_hid_init();
		return;
	}

	(void)esb_disable();
	if (esb_radio_start() == 0) {
		k_timer_start(&stat_timer, K_SECONDS(5), K_SECONDS(5));
		printk("esb: PTX restarted\n");
	}
}

/*
 * 系统模式：
 *   高速（0）   -> 0 dBm，续航优先（原来就是这个值）
 *   竞技（1）   -> +8 dBm，链路更稳，耗电明显增加
 * 只改发射功率：传感器扫描率由 PAW3395 自身配置决定，这里没有可调项。
 */
void ble_hid_set_system_mode(uint8_t mode)
{
	int8_t dbm = (mode != 0) ? 8 : 0;
	int err = esb_set_tx_power(dbm);

	if (err) {
		printk("esb: tx power %d dBm failed (%d), fallback 4 dBm\n", dbm, err);
		dbm = 4;
		(void)esb_set_tx_power(dbm);
	}

	printk("esb: system mode %s, tx %d dBm\n",
	       (mode != 0) ? "competitive" : "high-speed", dbm);
}

void ble_hid_set_battery(uint8_t pct)
{
	cur_battery = (pct > 100) ? 0xFF : pct;
}
```

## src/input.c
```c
/*
 * 输入层实现：滚轮编码器（正交解码）+ PCF8574T 按键扩展
 *
 * 编码器：A/B 都配成输入 + 双沿中断，共用一个回调，靠标准正交解码状态表
 *         累加 ±1/0。不用定时器去抖 —— 状态表本身能抵消机械抖动。
 * 按键：PCF8574 走 i2c22，先写 0xFF（准双向口置输入）再读端口；
 *       连续 3 次相同读值才接受为新状态。
 *
 * SPDX-License-Identifier: Apache-2.0
 */

#include <zephyr/kernel.h>
#include <zephyr/device.h>
#include <zephyr/drivers/gpio.h>
#include <zephyr/drivers/i2c.h>
#include <zephyr/sys/printk.h>

#include "input.h"

#define ZEPHYR_USER_NODE DT_PATH(zephyr_user)

/* 滚轮编码器 A/B（正交）与按键扩展 INT，均来自 app.overlay 的 zephyr,user */
static const struct gpio_dt_spec wheel_a =
	GPIO_DT_SPEC_GET(ZEPHYR_USER_NODE, wheel_a_gpios);
static const struct gpio_dt_spec wheel_b =
	GPIO_DT_SPEC_GET(ZEPHYR_USER_NODE, wheel_b_gpios);
static const struct gpio_dt_spec btn_int =
	GPIO_DT_SPEC_GET(ZEPHYR_USER_NODE, btn_int_gpios);

/* PCF8574T 挂在 XIAO 外部 I2C（D4/D5 = i2c22） */
static const struct device *const pcf_i2c = DEVICE_DT_GET(DT_NODELABEL(i2c22));

/* PCF8574T 默认地址 0x20（A0/A1/A2 全接地）。
 * 若模块跳线不同，需按丝印改这里。
 */
#define PCF8574_ADDR          0x20

/* 去抖：连续 N 次相同读值才接受为新状态。
 * N 由配置通道的"防误触发"档位改（默认 3 = 低档）。
 */
#define BTN_DEBOUNCE_N        3
#define BTN_DEBOUNCE_N_MAX    10

static uint8_t debounce_n = BTN_DEBOUNCE_N;

/* 编码器累积的正交步数（4 步 = 1 机械格）；ISR 累加、主循环取走清零 */
static int32_t wheel_steps;
static uint8_t enc_state;

/* 正交解码状态表：index = (prev << 2) | cur，(prev,cur) 均为 (A<<1)|B。
 * 4x 分辨率：一个机械刻度 = 4 个状态变化。
 */
static const int8_t enc_table[16] = {
	/*        cur:  0    1    2    3 */
	/* prev 0 */  0,   1,  -1,   0,
	/* prev 1 */ -1,   0,   0,   1,
	/* prev 2 */  1,   0,   0,  -1,
	/* prev 3 */  0,  -1,   1,   0,
};

/* 按键去抖状态：candidate = 最近一次读值，stable = 连续命中次数 */
static uint8_t btn_candidate = 0xFF;
static uint8_t btn_stable;
static uint8_t btn_confirmed = 0xFF;

/* I2C 读失败计数：失败时 btn_confirmed 会保持旧值，上层据此做超时释放 */
static uint32_t read_errors;

static struct gpio_callback wheel_cb;
static struct gpio_callback btn_int_cb;

/* 唤醒通知：ISR 里只做 k_sem_give 这类极短动作 */
static void (*wake_notify)(void);

void input_set_wake_notify(void (*fn)(void))
{
	wake_notify = fn;
}

static inline void notify_wake(void)
{
	if (wake_notify != NULL) {
		wake_notify();
	}
}

/* 读 A/B 逻辑电平并打包成 (A<<1)|B */
static inline uint8_t wheel_read_ab(void)
{
	uint8_t a = (uint8_t)gpio_pin_get_dt(&wheel_a);
	uint8_t b = (uint8_t)gpio_pin_get_dt(&wheel_b);

	return (uint8_t)((a << 1) | b);
}

static void wheel_isr(const struct device *dev, struct gpio_callback *cb,
		      uint32_t pins)
{
	ARG_UNUSED(dev);
	ARG_UNUSED(cb);
	ARG_UNUSED(pins);

	uint8_t cur = wheel_read_ab();

	wheel_steps += enc_table[(enc_state << 2) | cur];
	enc_state = cur;

	notify_wake();
}

/* PCF8574 的 INT：端口有变化就拉低，主循环读一次后释放。
 * 下降沿 = 有按键动作，只负责把主线程叫醒，真正的去抖仍走 I2C 读。 */
static void btn_int_isr(const struct device *dev, struct gpio_callback *cb,
			uint32_t pins)
{
	ARG_UNUSED(dev);
	ARG_UNUSED(cb);
	ARG_UNUSED(pins);

	notify_wake();
}

int input_wheel_take(void)
{
	unsigned int key = irq_lock();
	int32_t v = wheel_steps;

	wheel_steps = 0;
	irq_unlock(key);

	return (int)v;
}

int input_buttons_read(uint8_t *raw)
{
	uint8_t wr = 0xFF;   /* 准双向口：写 1 置为输入 */
	uint8_t rd = 0xFF;
	int err;

	if (!device_is_ready(pcf_i2c)) {
		return -ENODEV;
	}

	err = i2c_write_read(pcf_i2c, PCF8574_ADDR, &wr, 1, &rd, 1);
	if (err < 0) {
		read_errors++;
		return err;
	}

	if (raw) {
		*raw = rd;
	}

	/* 去抖：连续 BTN_DEBOUNCE_N 次相同才确认 */
	if (rd == btn_candidate) {
		if (btn_stable < debounce_n) {
			btn_stable++;
		}
	} else {
		btn_candidate = rd;
		btn_stable = 1;
	}
	if (btn_stable >= debounce_n) {
		btn_confirmed = btn_candidate;
	}

	return 0;
}

void input_set_debounce_count(uint8_t n)
{
	if (n < 2) {
		n = 2;
	}
	if (n > BTN_DEBOUNCE_N_MAX) {
		n = BTN_DEBOUNCE_N_MAX;
	}

	debounce_n = n;
	/* 换档后重新计数，避免旧状态直接被判定成"已稳定" */
	btn_stable = 0;
	btn_candidate = btn_confirmed;

	printk("input: debounce count -> %u\n", n);
}

uint8_t input_debounce_count(void)
{
	return debounce_n;
}

int input_buttons_get(uint8_t *debounced)
{
	if (debounced) {
		*debounced = btn_confirmed;
	}

	return 0;
}

uint32_t input_button_read_errors(void)
{
	return read_errors;
}

void input_buttons_force_release(void)
{
	/* I2C 长时间读失败时调用：把确认状态强制拉回"全松开"，
	 * 避免按键永久卡在按下。下一次成功读会重新走去抖确认。 */
	btn_confirmed = 0xFF;
	btn_candidate = 0xFF;
	btn_stable = 0;
}

bool input_btn_int_asserted(void)
{
	if (!gpio_is_ready_dt(&btn_int)) {
		return false;
	}

	/* GPIO_ACTIVE_LOW：INT 拉低时逻辑值为 1 */
	return gpio_pin_get_dt(&btn_int) != 0;
}

int input_init(void)
{
	int ready = 0;

	/* 编码器 A/B：输入 + 双沿中断，共用一个回调 */
	if (gpio_is_ready_dt(&wheel_a) && gpio_is_ready_dt(&wheel_b)) {
		int err = gpio_pin_configure_dt(&wheel_a, GPIO_INPUT);

		if (err == 0) {
			err = gpio_pin_configure_dt(&wheel_b, GPIO_INPUT);
		}
		if (err == 0) {
			/* 先记录初始电平，避免使能中断后的第一次边沿被误判 */
			enc_state = wheel_read_ab();
			gpio_init_callback(&wheel_cb, wheel_isr,
					   BIT(wheel_a.pin) | BIT(wheel_b.pin));
			err = gpio_add_callback(wheel_a.port, &wheel_cb);
		}
		if (err == 0) {
			err = gpio_pin_interrupt_configure_dt(&wheel_a,
							      GPIO_INT_EDGE_BOTH);
		}
		if (err == 0) {
			err = gpio_pin_interrupt_configure_dt(&wheel_b,
							      GPIO_INT_EDGE_BOTH);
		}
		if (err) {
			printk("input: wheel encoder init failed (%d)\n", err);
		} else {
			ready++;
		}
	} else {
		printk("input: wheel gpio not ready\n");
	}

	/* 按键扩展 INT（D7）：输入 + 下降沿中断。
	 * 有了这条中断，睡眠态可以 k_sem_take(K_FOREVER)，不必再定时轮询按键。
	 */
	if (gpio_is_ready_dt(&btn_int)) {
		int err = gpio_pin_configure_dt(&btn_int, GPIO_INPUT);

		if (err) {
			printk("input: btn int init failed (%d)\n", err);
		} else {
			gpio_init_callback(&btn_int_cb, btn_int_isr, BIT(btn_int.pin));
			err = gpio_add_callback(btn_int.port, &btn_int_cb);
			if (err == 0) {
				err = gpio_pin_interrupt_configure_dt(&btn_int,
								      GPIO_INT_EDGE_FALLING);
			}
			if (err) {
				printk("input: btn int irq failed (%d)\n", err);
			}
			ready++;
		}
	} else {
		printk("input: btn int gpio not ready\n");
	}

	/* PCF8574 挂在 i2c22（D4/D5） */
	if (!device_is_ready(pcf_i2c)) {
		printk("input: i2c22 not ready\n");
	} else {
		uint8_t raw = 0;

		if (input_buttons_read(&raw) == 0) {
			printk("input: pcf8574 @0x%02X ok, initial raw=0x%02X\n",
			       PCF8574_ADDR, raw);
		} else {
			printk("input: pcf8574 @0x%02X read failed\n",
			       PCF8574_ADDR);
		}
		ready++;
	}

	return ready > 0 ? 0 : -ENODEV;
}
```

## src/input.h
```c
/*
 * 输入层：滚轮编码器（正交）+ PCF8574T 按键扩展
 *
 * 本模块只负责“取硬件状态”，不做按键到位映射（哪一位对应哪个键未知，
 * 映射放在 main.c）。
 *
 * SPDX-License-Identifier: Apache-2.0
 */

#ifndef INPUT_H
#define INPUT_H

#include <stdint.h>
#include <stdbool.h>

/**
 * @brief 初始化编码器 GPIO 中断、按键 INT 引脚与 PCF8574 所在的 i2c22。
 *        任一部分就绪即返回 0；具体失败会打日志说明。
 * @return 0 有任一部分可用，负值为 errno
 */
int input_init(void);

/**
 * @brief 取走并清零自上次调用以来累积的编码器正交步数。
 *        注意：一个机械刻度通常是 4 个正交状态，除以 4 才是 1 格滚轮，
 *        换算由调用方（main.c）完成。
 * @return 累积步数（可为负）
 */
int input_wheel_take(void);

/**
 * @brief 读一次 PCF8574 端口原始值，并更新内部去抖状态。
 *        流程：先写 1 字节 0xFF（准双向口置为输入），再读 1 字节端口值。
 * @param raw 非空时回填原始端口值
 * @return 0 成功，负值为 errno
 */
int input_buttons_read(uint8_t *raw);

/**
 * @brief 取去抖后“已确认”的端口值（连续多次相同的读值才被接受）。
 * @param debounced 非空时回填
 * @return 0 成功
 */
int input_buttons_get(uint8_t *debounced);

/** @brief 累计 I2C 读失败次数（用于诊断/超时释放）。 */
uint32_t input_button_read_errors(void);

/**
 * @brief 强制把按键确认状态复位为"全松开"。
 *
 * 用于 I2C 连续读失败、状态可能卡在按下时做安全释放；
 * 下一次成功读会重新按去抖次数确认。
 */
void input_buttons_force_release(void);

/**
 * @brief 按键扩展 INT 线是否有效（D7，PCF8574 有变化时拉低）。
 * @return true 表示已拉低
 */
bool input_btn_int_asserted(void);

/**
 * @brief 注册"有输入动作"回调（滚轮边沿 / 按键 INT 都会调用）。
 *
 * 用于把滚轮与按键从定时轮询改成中断唤醒。回调在 **ISR 上下文**执行，
 * 必须极短 —— 典型用法是给唤醒信号量 k_sem_give()。
 */
void input_set_wake_notify(void (*fn)(void));

/**
 * @brief 设置按键去抖需要的"连续相同读值"次数（防误触发档位）。
 *
 * 次数越多，抬鼠复位时的机械抖动越不容易被当成一次点击，代价是按键
 * 响应多几毫秒。调用方要同步把补读窗口拉长（main.c 的 settle 时间）。
 *
 * @param n 2..10，超出范围会被夹住
 */
void input_set_debounce_count(uint8_t n);

/** @brief 当前去抖次数（主循环据此决定补读窗口）。 */
uint8_t input_debounce_count(void);

#endif /* INPUT_H */
```
